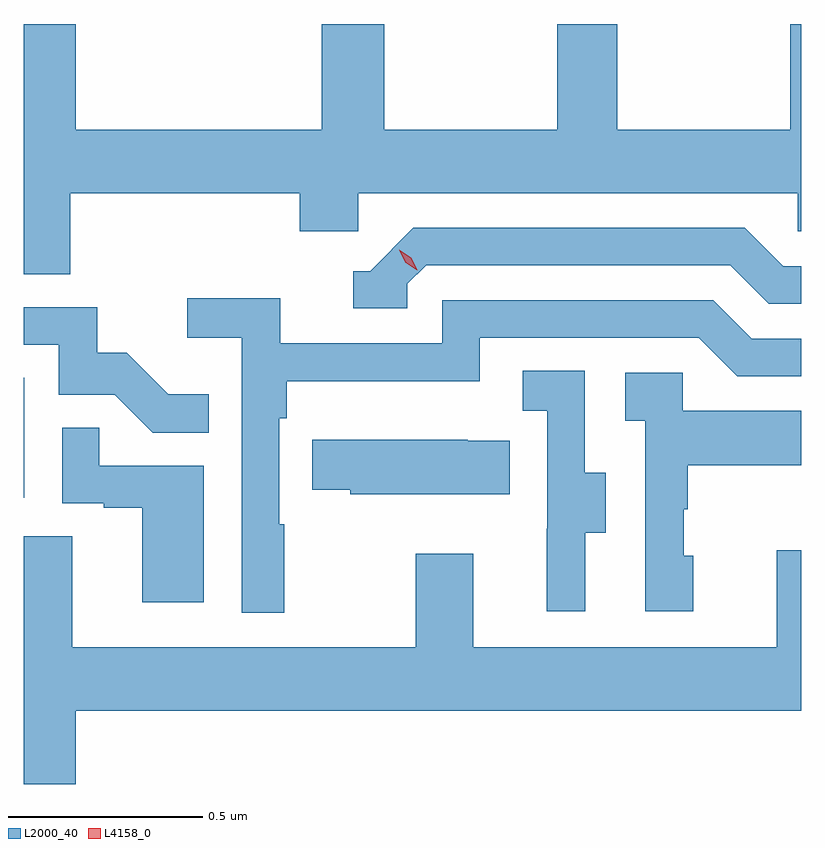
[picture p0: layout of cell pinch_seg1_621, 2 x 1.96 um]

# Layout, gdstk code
import gdstk
lib = gdstk.Library(unit=1e-6, precision=1e-09)
def R(c, l, rs):  # rectangles x0, y0, x1, y1
    for r in rs: c.add(gdstk.rectangle(r[:2], r[2:], *l))
def P(c, l, *ps):  # polygons
    for p in ps: c.add(gdstk.Polygon(p, *l))
L2000_40 = (2000, 40)
L4158_0 = (4158, 0)

pinch_seg1_621 = lib.new_cell('pinch_seg1_621')
R(pinch_seg1_621, L2000_40, [(1142.061,521.645,1142.062,521.953)])
P(pinch_seg1_621, L2000_40, [(1142.18,522.428),(1142.771,522.428),(1142.771,522.33),(1142.922,522.33),(1142.922,522.428),(1144.053,522.428),(1144.053,522.33),(1144.061,522.33),(1144.061,522.864),(1144.033,522.864),(1144.033,522.592),(1143.588,522.592),(1143.588,522.864),(1143.433,522.864),(1143.433,522.592),(1142.988,522.592),(1142.988,522.864),(1142.828,522.864),(1142.828,522.592),(1142.194,522.592),(1142.194,522.864),(1142.061,522.864),(1142.061,522.22),(1142.18,522.22)],
  [(1143.048,522.195),(1143.096,522.243),(1143.879,522.243),(1143.978,522.144),(1144.061,522.144),(1144.061,522.24),(1144.015,522.24),(1143.916,522.339),(1143.063,522.339),(1142.952,522.228),(1142.909,522.228),(1142.909,522.132),(1143.048,522.132)],
  [(1142.731,521.576),(1142.718,521.576),(1142.718,521.849),(1142.738,521.849),(1142.738,521.945),(1143.234,521.945),(1143.234,522.057),(1143.798,522.057),(1143.897,521.958),(1144.061,521.958),(1144.061,522.054),(1143.934,522.054),(1143.835,522.153),(1143.138,522.153),(1143.138,522.042),(1142.72,522.042),(1142.72,522.158),(1142.481,522.158),(1142.481,522.056),(1142.622,522.056),(1142.622,521.349),(1142.731,521.349)],
  [(1142.537,521.911),(1142.433,521.911),(1142.326,522.018),(1142.25,522.018),(1142.25,522.135),(1142.061,522.135),(1142.061,522.039),(1142.151,522.039),(1142.151,521.91),(1142.295,521.91),(1142.393,521.812),(1142.537,521.812)],
  [(1143.505,521.554),(1143.559,521.554),(1143.559,521.709),(1143.504,521.709),(1143.504,521.972),(1143.345,521.972),(1143.345,521.869),(1143.408,521.869),(1143.408,521.565),(1143.407,521.565),(1143.407,521.352),(1143.505,521.352)],
  [(1143.784,521.496),(1143.759,521.496),(1143.759,521.615),(1143.769,521.615),(1143.769,521.729),(1144.061,521.729),(1144.061,521.869),(1143.756,521.869),(1143.756,521.967),(1143.609,521.967),(1143.609,521.843),(1143.66,521.843),(1143.66,521.352),(1143.784,521.352)],
  [(1142.524,521.727),(1142.255,521.727),(1142.255,521.825),(1142.16,521.825),(1142.16,521.631),(1142.267,521.631),(1142.267,521.619),(1142.366,521.619),(1142.366,521.376),(1142.524,521.376)],
  [(1143.311,521.791),(1143.203,521.791),(1143.203,521.794),(1142.803,521.794),(1142.803,521.665),(1142.901,521.665),(1142.901,521.654),(1143.311,521.654)],
  [(1142.194,521.096),(1144.061,521.096),(1144.061,521.509),(1143.998,521.509),(1143.998,521.26),(1143.217,521.26),(1143.217,521.5),(1143.07,521.5),(1143.07,521.26),(1142.185,521.26),(1142.185,521.546),(1142.061,521.546),(1142.061,520.908),(1142.194,520.908)])
P(pinch_seg1_621, L4158_0, [(1143.073,522.23),(1143.043,522.25),(1143.027,522.282),(1143.027,522.283),(1143.027,522.283),(1143.058,522.263),(1143.073,522.231),(1143.073,522.23)])

lib.write_gds('pinch_seg1_621.gds')
